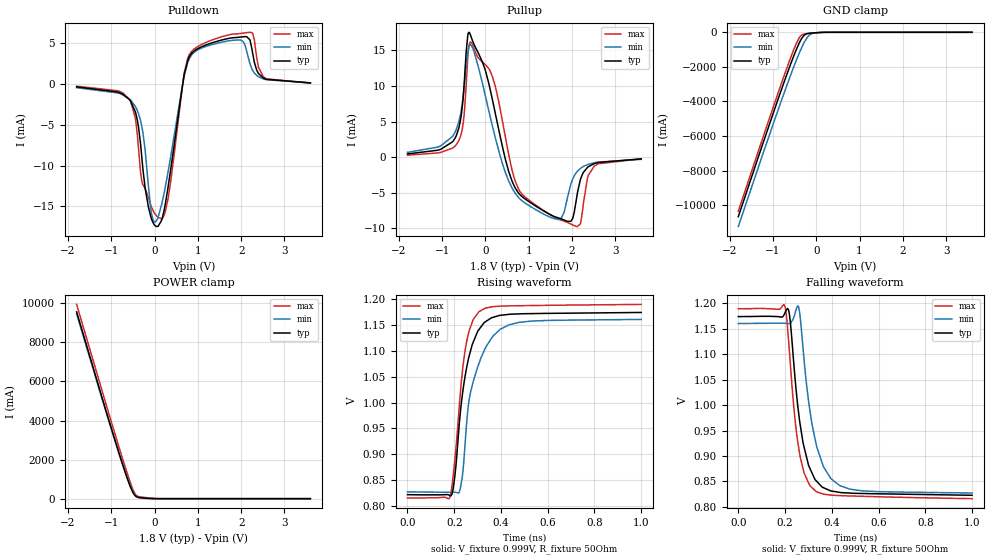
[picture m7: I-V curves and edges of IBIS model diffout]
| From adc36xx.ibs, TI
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|   diffout Model
[Model]   diffout
Model_type   3-state
Polarity   Non-Inverting
Vmeas = 0.998
Vref = 0.998
Cref = 5pF
Rref = 100
|   typ   min   max
C_comp   7.1720E-13   5.4909E-13   8.9465E-13
|C_comp_pullup   8.0473E-13   6.2754E-13   9.9458E-13
|C_comp_pulldown   8.0101E-13   6.3043E-13   1.0037E-12
| Where Nom  PVT is Nominal Process, 1.8V, 25C
|   Fast PVT is Strong Process,  1.9V, -40C
|   Slow PVT is Weak Process,   1.7V, 125C
[Voltage Range]   1.8   1.7   1.9
|Junction Temperature
[Temperature Range]   25   125   -40
[Pullup Reference]   1.8   1.7   1.9
[Pulldown Reference]   0   0   -0
[Power Clamp Reference]   1.8   1.7   1.9
[GND Clamp Reference]   0   0   0
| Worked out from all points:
|   slope of the pulldown table from 0 to 0.27 V, typ, clamps not added: 82.2 ohm
|   slope of the pullup table from 0 to 0.27 V, typ, clamps not added: 37.6 ohm
|   falling waveform, V_fixture 0.999V, R_fixture 50Ohm: 20-80 % time 60.9ps typ, 72.9ps min, 51.6ps max; typ from 1.17 V to 0.823 V
|   rising waveform, V_fixture 0.999V, R_fixture 50Ohm: 20-80 % time 61.9ps typ, 79.8ps min, 49.1ps max; typ from 0.822 V to 1.17 V
[Pulldown]
|   Voltage   I(typ)   I(min)   I(max)
-1.8V     -348.5uA   -450.2uA   -268.5uA
-552.6mV  -2.103mA   -1.977mA   -2.111mA
-293.4mV  -9.019mA   -5.217mA   -11.91mA
-82.8mV   -16.33mA   -15.42mA   -14.9mA
52.2mV    -17.46mA   -16.67mA   -16.19mA
311.4mV   -12.66mA   -10.79mA   -14.07mA
689.4mV   1.275mA    1.098mA    1.463mA
862.2mV   3.786mA    3.608mA    4.03mA
1.991V    5.751mA    5.38mA     6.189mA
2.25V     4.288mA    1.838mA    6.28mA
2.52V     720.7uA    614.3uA    855.7uA
3.6V      130.8uA    150.1uA    117.3uA
[GND Clamp]
|   Voltage   I(typ)   I(min)   I(max)
-1.8V     -10.67A    -11.24A    -10.36A
-925.2mV  -4.191A    -4.812A    -3.835A
-649.8mV  -2.241A    -2.876A    -1.871A
-509.4mV  -1.308A    -1.936A    -943.7mA
-390.6mV  -612.1mA   -1.196A    -314.8mA
-342mV    -382.9mA   -917.9mA   -170.3mA
-255.6mV  -130.7mA   -487.8mA   -90.18mA
-147.6mV  -54.07mA   -144.9mA   -64.49mA
-50.4mV   -33.82mA   -41.31mA   -44.25mA
160.2mV   -3.01mA    -3.005mA   -6.308mA
3.6V      0A         0A         0A
[Pullup]
|   Voltage   I(typ)   I(min)   I(max)
-1.8V     453uA      677.8uA    281.6uA
-698.4mV  2.694mA    3.534mA    1.568mA
-514.8mV  8.298mA    8.387mA    4.694mA
-379.8mV  17.51mA    15.47mA    15.63mA
160.2mV   8.13mA     4.422mA    11.34mA
538.2mV   -2.003mA   -3.328mA   368.5uA
916.2mV   -5.852mA   -6.427mA   -5.585mA
1.732V    -8.609mA   -8.665mA   -8.806mA
1.975V    -8.992mA   -3.779mA   -9.373mA
2.126V    -5.02mA    -1.969mA   -9.729mA
2.515V    -908uA     -788uA     -1.259mA
3.6V      -242.5uA   -300.6uA   -225.4uA
[POWER Clamp]
|   Voltage   I(typ)   I(min)   I(max)
-1.8V     9.565A     9.459A     9.947A
-1.163V   4.806A     4.747A     5.153A
-763.2mV  1.926A     1.924A     2.219A
-649.8mV  1.163A     1.188A     1.424A
-552.6mV  575.3mA    624.8mA    783.9mA
-477mV    231.4mA    282.4mA    362.1mA
-412.2mV  93.75mA    108.5mA    149.8mA
-293.4mV  43.75mA    23.29mA    79.44mA
84.6mV    541.7uA    20.5uA     5.068mA
3.6V      0A         0A         0A
[Ramp]
R_load = 50
|   typ   min   max
dV/dt_r   0.211116/6.1883e-11   0.199781/7.97871e-11   0.224206/4.90834e-11
dV/dt_f   0.211008/6.09386e-11   0.200121/7.28541e-11   0.224279/5.16444e-11
[Falling Waveform]
V_fixture = 0.999V
V_fixture_min = 0.994V
V_fixture_max = 1.004V
R_fixture = 50Ohm
C_fixture = 0F
|   Time   V(typ)   V(min)   V(max)
0s        1.174V     1.161V     1.19V
194.3ps   1.177V     1.161V     1.198V
214.7ps   1.188V     1.16V      1.129V
236.9ps   1.085V     1.172V     998.3mV
257.5ps   986.6mV    1.194V     918.2mV
302ps     879.9mV    1.002V     845.7mV
333.9ps   850.7mV    921.4mV    829.6mV
396.6ps   831mV      855.1mV    823mV
477.3ps   826.9mV    834.6mV    821.2mV
1ns       822.5mV    827mV      815.9mV
[Rising Waveform]
V_fixture = 0.999V
V_fixture_min = 0.994V
V_fixture_max = 1.004V
R_fixture = 50Ohm
C_fixture = 0F
|   Time   V(typ)   V(min)   V(max)
0s        822.2mV    827.6mV    815.9mV
183.7ps   820.4mV    826.8mV    819.9mV
203.2ps   860.1mV    826.9mV    892.1mV
221.6ps   958.4mV    827.1mV    993.1mV
244.8ps   1.046V     909.9mV    1.096V
263.6ps   1.09V      1.004V     1.138V
306.4ps   1.141V     1.076V     1.176V
364.6ps   1.164V     1.128V     1.185V
433.7ps   1.17V      1.15V      1.187V
1ns       1.174V     1.161V     1.19V
